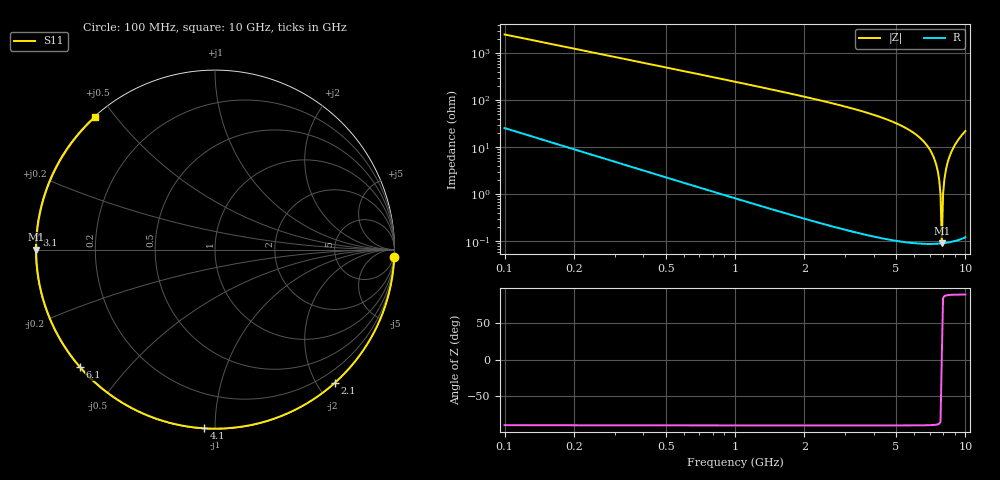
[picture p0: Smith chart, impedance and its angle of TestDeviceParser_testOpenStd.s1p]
# MHz MA S R 50.0
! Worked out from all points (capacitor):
!   100 points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, 100 MHz to 10 GHz, reference 50 ohm
!   read as one part to ground: C = 634 fF near 100 MHz
!   lowest |Z| = 90.8 mohm at 7.9 GHz (marker M1)
!   series resonance near 7.899 GHz, so ESL is about 640 pH
!   S11 on the Smith chart (normalised r, x): 100 MHz: 1, -50; 2.1 GHz: 0.01, -2.25; 4.1 GHz: 0.00, -0.94; 6.1 GHz: 0.00, -0.37; 8.1 GHz: 0.00, +0.04; 10 GHz: 0.00, +0.44
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100  0.9996 -2.3
400  0.9992 -9.1
700  0.9989 -16.0
1000  0.9987 -22.8
1400  0.9985 -31.9
1700  0.9983 -38.8
2100  0.9981 -47.9
2600  0.9979 -59.3
3000  0.9978 -68.4
3300  0.9977 -75.3
3600  0.9976 -82.1
3900  0.9975 -88.9
4100  0.9974 -93.5
4600  0.9972 -104.9
5100  0.9971 -116.3
5600  0.997 -127.6
6100  0.9968 -139.0
6300  0.9968 -143.6
6700  0.9967 -152.7
7000  0.9966 -159.5
7300  0.9965 -166.4
7600  0.9965 -173.2
7900  0.9964 180.0
8100  0.9963 175.4
8400  0.9963 168.6
8800  0.9962 159.5
9400  0.9961 145.8
10000  0.9959 132.1
